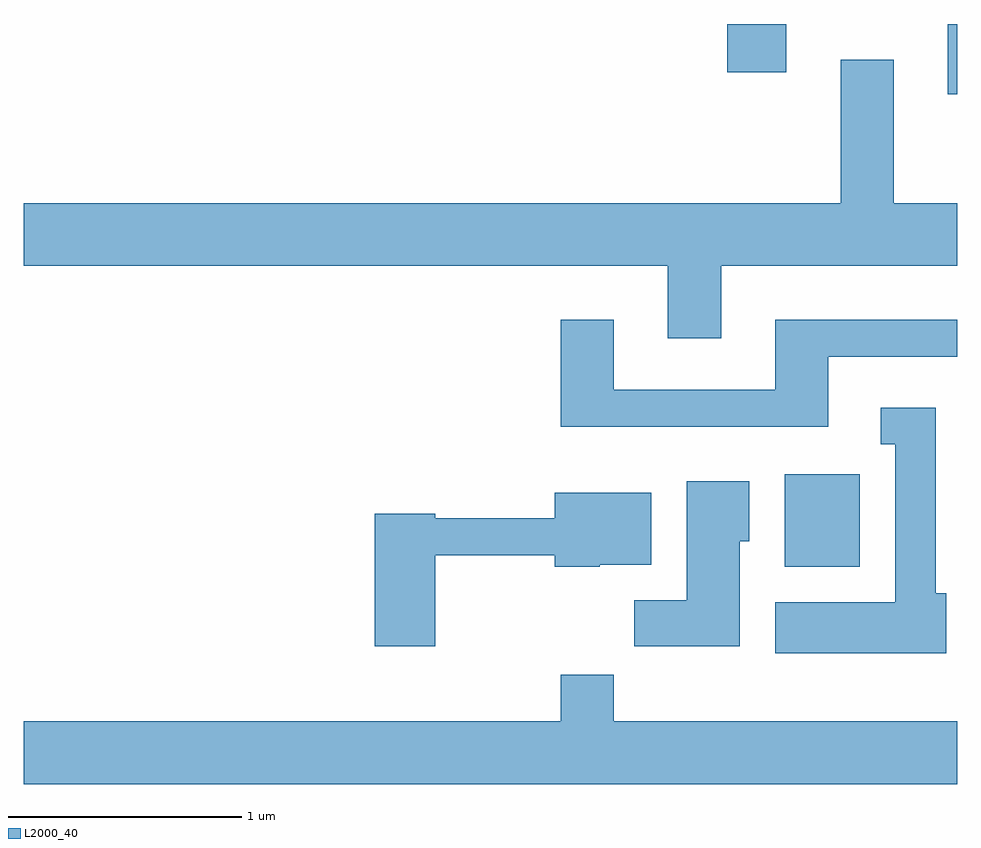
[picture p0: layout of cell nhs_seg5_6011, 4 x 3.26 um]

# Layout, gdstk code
import gdstk
lib = gdstk.Library(unit=1e-6, precision=1e-09)
def R(c, l, rs):  # rectangles x0, y0, x1, y1
    for r in rs: c.add(gdstk.rectangle(r[:2], r[2:], *l))
def P(c, l, *ps):  # polygons
    for p in ps: c.add(gdstk.Polygon(p, *l))
L2000_40 = (2000, 40)

nhs_seg5_6011 = lib.new_cell('nhs_seg5_6011')
R(nhs_seg5_6011, L2000_40, [(366.871,1437.746,367.194,1438.144), (367.571,1439.771,367.611,1440.072), (366.626,1439.866,366.879,1440.072)])
P(nhs_seg5_6011, L2000_40, [(366.599,1439.036),(367.611,1439.036),(367.611,1439.304),(367.339,1439.304),(367.339,1439.919),(367.111,1439.919),(367.111,1439.304),(363.611,1439.304),(363.611,1439.036),(366.371,1439.036),(366.371,1438.726),(366.599,1438.726)],
  [(367.059,1438.646),(367.611,1438.646),(367.611,1438.804),(366.831,1438.804),(366.831,1438.504),(366.139,1438.504),(366.139,1438.804),(365.911,1438.804),(365.911,1438.346),(367.059,1438.346)],
  [(367.564,1437.634),(367.519,1437.634),(367.519,1438.429),(367.283,1438.429),(367.283,1438.271),(367.346,1438.271),(367.346,1437.594),(366.831,1437.594),(366.831,1437.376),(367.564,1437.376)],
  [(366.679,1437.856),(366.719,1437.856),(366.719,1438.114),(366.451,1438.114),(366.451,1437.604),(366.226,1437.604),(366.226,1437.406),(366.679,1437.406)],
  [(365.374,1437.796),(365.886,1437.796),(365.886,1437.746),(366.08,1437.746),(366.08,1437.756),(366.299,1437.756),(366.299,1438.064),(365.886,1438.064),(365.886,1437.954),(365.374,1437.954),(365.374,1437.974),(365.116,1437.974),(365.116,1437.406),(365.374,1437.406)],
  [(367.611,1437.084),(366.139,1437.084),(366.139,1437.284),(365.911,1437.284),(365.911,1437.084),(363.611,1437.084),(363.611,1436.816),(367.611,1436.816)])

lib.write_gds('nhs_seg5_6011.gds')
